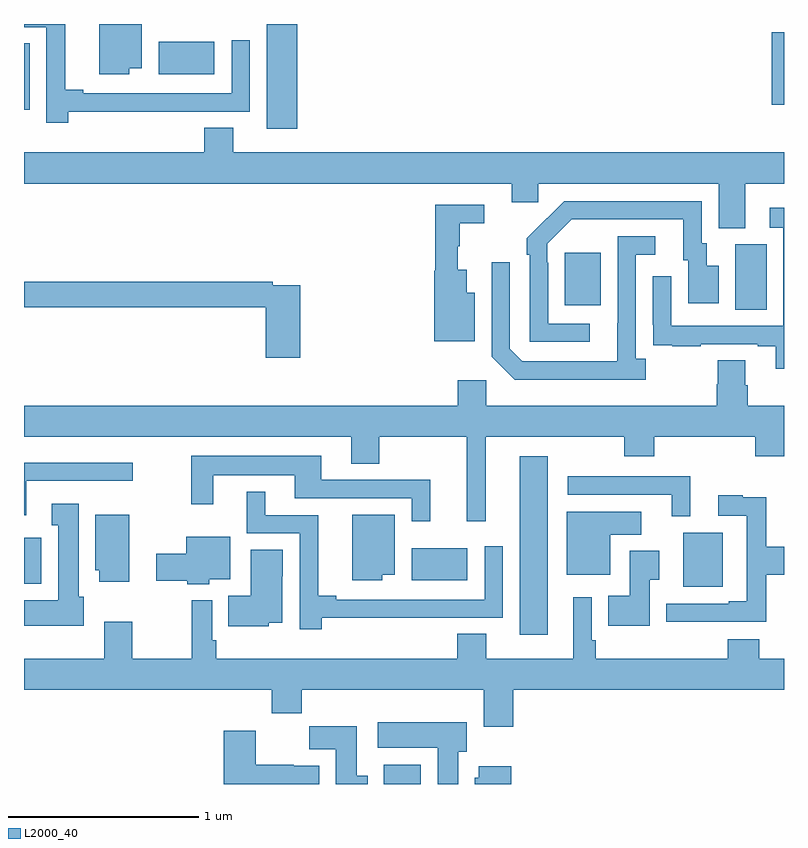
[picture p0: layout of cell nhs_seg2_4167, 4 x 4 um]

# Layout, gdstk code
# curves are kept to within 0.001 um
import gdstk
lib = gdstk.Library(unit=1e-6, precision=1e-09)
def R(c, l, rs):  # rectangles x0, y0, x1, y1
    for r in rs: c.add(gdstk.rectangle(r[:2], r[2:], *l))
def P(c, l, *ps):  # polygons
    for p in ps: c.add(gdstk.Polygon(p, *l))
L2000_40 = (2000, 40)

nhs_seg2_4167 = lib.new_cell('nhs_seg2_4167')
R(nhs_seg2_4167, L2000_40, [(336.893,653.8,337.089,653.902), (337.61,654.585,337.756,655.525), (338.471,654.839,338.677,655.123), (335,654.854,335.092,655.096), (337.04,654.872,337.333,655.042), (338.744,656.296,338.908,656.64), (337.847,656.321,338.035,656.596), (336.278,657.249,336.437,657.8), (335,657.35,335.029,657.698), (338.936,657.375,339,657.756), (335.708,657.536,336.001,657.706)])
P(nhs_seg2_4167, L2000_40, [(335.554,657.566),(335.62,657.566),(335.62,657.8),(335.396,657.8),(335.396,657.536),(335.554,657.536)],
  [(335.234,657.338),(335.864,657.338),(335.864,657.339),(336.189,657.339),(336.189,657.715),(336.093,657.715),(336.093,657.435),(335.311,657.435),(335.311,657.455),(335.216,657.455),(335.216,657.8),(335,657.8),(335,657.783),(335.118,657.783),(335.118,657.279),(335.234,657.279)],
  [(338.797,656.96),(339,656.96),(339,657.124),(336.1,657.124),(336.1,657.254),(335.948,657.254),(335.948,657.124),(335,657.124),(335,656.96),(337.568,656.96),(337.568,656.862),(337.707,656.862),(337.707,656.96),(338.657,656.96),(338.657,656.725),(338.797,656.725)],
  [(337.978,656.223),(337.758,656.223),(337.758,656.543),(337.755,656.543),(337.755,656.643),(337.884,656.772),(338.471,656.772),(338.471,656.556),(338.495,656.556),(338.495,656.331),(338.656,656.331),(338.656,656.527),(338.593,656.527),(338.593,656.646),(338.568,656.646),(338.568,656.868),(337.844,656.868),(337.647,656.673),(337.647,656.585),(337.662,656.585),(337.662,656.127),(337.978,656.127)],
  [(337.372,656.386),(337.33,656.386),(337.33,656.506),(337.283,656.506),(337.283,656.63),(337.294,656.63),(337.294,656.752),(337.423,656.752),(337.423,656.85),(337.165,656.85),(337.165,656.502),(337.16,656.502),(337.16,656.129),(337.372,656.129)],
  [(339,656.833),(338.925,656.833),(338.925,656.727),(338.997,656.727),(338.997,656.211),(338.406,656.211),(338.406,656.473),(338.31,656.473),(338.31,656.218),(338.311,656.218),(338.311,656.109),(338.413,656.109),(338.413,656.103),(338.561,656.103),(338.561,656.115),(338.861,656.115),(338.861,656.103),(338.957,656.103),(338.957,655.986),(339,655.986)],
  [(338.272,656.038),(338.22,656.038),(338.22,656.586),(338.323,656.586),(338.323,656.682),(338.124,656.682),(338.123,656.025),(337.623,656.025),(337.557,656.091),(337.557,656.545),(337.461,656.545),(337.461,656.049),(337.582,655.928),(338.272,655.928)],
  [(336.455,656.424),(336.308,656.424),(336.308,656.444),(335,656.444),(335,656.308),(336.272,656.308),(336.272,656.043),(336.455,656.043)],
  [(337.43,655.628),(338.158,655.628),(338.158,655.526),(338.318,655.526),(338.318,655.628),(338.849,655.628),(338.849,655.526),(339,655.526),(339,655.792),(338.81,655.792),(338.81,655.898),(338.797,655.898),(338.797,656.03),(338.65,656.03),(338.65,655.905),(338.645,655.905),(338.645,655.792),(337.434,655.792),(337.434,655.924),(337.283,655.924),(337.283,655.792),(335,655.792),(335,655.628),(336.722,655.628),(336.722,655.486),(336.87,655.486),(336.87,655.628),(337.331,655.628),(337.331,655.182),(337.43,655.182)],
  [(337.139,655.401),(336.565,655.401),(336.565,655.528),(335.881,655.528),(335.881,655.272),(335.995,655.272),(335.995,655.424),(336.425,655.424),(336.425,655.305),(337.041,655.305),(337.041,655.182),(337.139,655.182)],
  [(335.011,655.395),(335.572,655.395),(335.572,655.492),(335,655.492),(335,655.215),(335.011,655.215)],
  [(338.506,655.419),(337.863,655.419),(337.863,655.323),(338.408,655.323),(338.408,655.208),(338.506,655.208)],
  [(336.566,654.674),(337.196,654.674),(337.196,654.675),(337.521,654.675),(337.521,655.051),(337.425,655.051),(337.425,654.771),(336.643,654.771),(336.643,654.791),(336.548,654.791),(336.548,655.215),(336.271,655.215),(336.271,655.339),(336.173,655.339),(336.173,655.119),(336.45,655.119),(336.45,654.615),(336.566,654.615)],
  [(338.621,654.654),(338.906,654.654),(338.906,654.902),(339,654.902),(339,655.05),(338.906,655.05),(338.906,655.31),(338.783,655.31),(338.783,655.321),(338.655,655.321),(338.655,655.212),(338.805,655.212),(338.805,654.763),(338.708,654.763),(338.708,654.75),(338.379,654.75),(338.379,654.653),(338.621,654.653)],
  [(335.314,654.786),(335.287,654.786),(335.287,655.276),(335.147,655.276),(335.147,655.163),(335.18,655.163),(335.18,654.766),(335,654.766),(335,654.632),(335.314,654.632)],
  [(338.086,655.112),(338.248,655.112),(338.248,655.234),(337.856,655.234),(337.856,654.902),(338.086,654.902)],
  [(336.886,654.902),(336.952,654.902),(336.952,655.216),(336.728,655.216),(336.728,654.872),(336.886,654.872)],
  [(335.554,655.216),(335.375,655.216),(335.375,654.924),(335.396,654.924),(335.396,654.864),(335.554,654.864)],
  [(335.976,654.878),(336.085,654.878),(336.085,655.102),(335.855,655.102),(335.855,655.013),(335.697,655.013),(335.697,654.871),(335.859,654.871),(335.859,654.851),(335.976,654.851)],
  [(336.288,654.65),(336.358,654.65),(336.358,654.894),(336.361,654.894),(336.361,655.034),(336.194,655.034),(336.194,654.79),(336.076,654.79),(336.076,654.629),(336.288,654.629)],
  [(338.293,654.874),(338.344,654.874),(338.344,655.027),(338.189,655.027),(338.189,654.79),(338.074,654.79),(338.074,654.632),(338.293,654.632)],
  [(337.574,654.296),(339,654.296),(339,654.46),(338.87,654.46),(338.87,654.562),(338.705,654.562),(338.705,654.46),(338.009,654.46),(338.009,654.556),(337.989,654.556),(337.989,654.784),(337.892,654.784),(337.892,654.46),(337.432,654.46),(337.432,654.59),(337.28,654.59),(337.28,654.46),(336.011,654.46),(336.011,654.556),(335.991,654.556),(335.991,654.766),(335.883,654.766),(335.883,654.46),(335.571,654.46),(335.571,654.655),(335.423,654.655),(335.423,654.46),(335,654.46),(335,654.296),(336.305,654.296),(336.305,654.172),(336.461,654.172),(336.461,654.296),(337.421,654.296),(337.421,654.102),(337.574,654.102)],
  [(337.285,653.97),(337.33,653.97),(337.33,654.124),(336.861,654.124),(336.861,653.99),(337.178,653.99),(337.178,653.8),(337.285,653.8)],
  [(336.808,653.844),(336.751,653.844),(336.751,654.103),(336.502,654.103),(336.502,653.984),(336.641,653.984),(336.641,653.8),(336.808,653.8)],
  [(336.553,653.896),(336.42,653.896),(336.42,653.902),(336.22,653.902),(336.22,654.079),(336.05,654.079),(336.05,653.8),(336.553,653.8)],
  [(337.565,653.893),(337.394,653.893),(337.394,653.832),(337.373,653.832),(337.373,653.8),(337.565,653.8)])

lib.write_gds('nhs_seg2_4167.gds')
